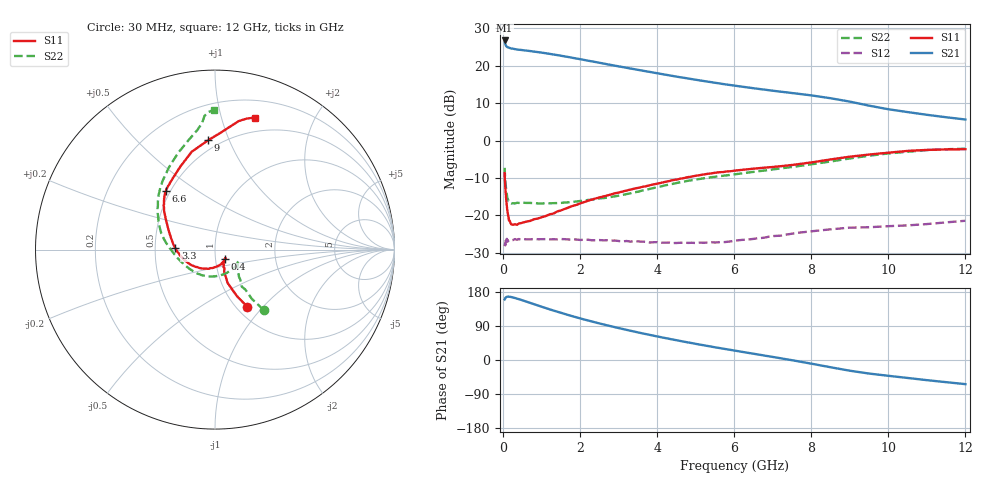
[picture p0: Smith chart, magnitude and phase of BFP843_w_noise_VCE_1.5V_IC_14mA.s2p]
! Infineon Technologies  Discrete & RF Semiconductors
! BFP843
! VCE =  1.5 V,  IC =  14 mA
! Common Emitter S-Parameters:  Aug 2013
# GHz  S  MA  R  50
!  f  S11  S21  S12  S22
! GHz  MAG  ANG  MAG  ANG  MAG  ANG  MAG  ANG
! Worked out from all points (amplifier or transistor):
!   103 points, 30 MHz to 12 GHz, reference 50 ohm
!   highest |S21| = 26.8 dB at 30 MHz (marker M1)
!   |S21| within 3 dB of that: start of sweep to 810.2 MHz
!   unconditionally stable (mu >= 1): 117.6 MHz to 10.92 GHz
!   at 400 MHz: K = 1.02, MAG = 24.5 dB, |S12| = -26.3 dB
!   at 3.7 GHz: K = 1.36, MAG = 19.2 dB, |S12| = -27.1 dB
!   at 12 GHz: K = 0.86, MSG = 13.5 dB, |S12| = -21.4 dB
!   lowest NFmin = 0.95 dB at 450 MHz
!   S11 on the Smith chart (normalised r, x): 30 MHz: 1.12, -0.83; 400 MHz: 1.11, -0.12; 3.3 GHz: 0.64, +0.01; 6.6 GHz: 0.47, +0.38; 9 GHz: 0.43, +0.84; 12 GHz: 0.36, +1.29
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0.03  0.3673 -60.5  21.82 159.7  0.0388 26.6  0.4328 -51.1
0.04  0.2837 -64.9  20.22 161.3  0.0418 21.7  0.3434 -53.2
0.05  0.2293 -67.3  19.34 163.9  0.0401 12.3  0.2792 -52.8
0.07  0.1649 -68.4  18.32 165.7  0.044 12.5  0.218 -49.8
0.1  0.1161 -62.9  17.76 167.0  0.0448 11.7  0.1731 -43.1
0.13  0.0969 -59.3  17.59 167.4  0.046 6.0  0.1552 -36.5
0.2  0.076 -46.3  17.04 166.2  0.0464 3.9  0.1448 -27.9
0.4  0.0781 -43.5  16.39 160.5  0.0484 3.6  0.1468 -27.1
0.8  0.0891 -69.6  15.47 147.1  0.0485 0.6  0.1457 -46.3
1.2  0.1033 -97.4  14.44 133.7  0.0478 -1.3  0.1452 -68.8
1.7  0.1282 -125.3  13.06 118.2  0.0476 -3.3  0.1497 -94.8
2.1  0.1509 -143.3  11.97 106.8  0.0473 -3.8  0.158 -113.3
2.7  0.1848 -164.3  10.47 91.3  0.0466 -5.6  0.1729 -137.9
3.3  0.2213 177.9  9.2 77.2  0.0446 -5.2  0.1977 -159.0
4.1  0.2732 159.2  7.778 60.0  0.0432 -4.4  0.245 -179.9
5  0.3393 145.3  6.508 42.5  0.0427 -0.4  0.302 165.6
6.1  0.4013 135.0  5.345 23.2  0.0465 5.3  0.3593 151.5
6.6  0.4256 129.9  4.935 14.7  0.0495 5.9  0.3878 145.5
8.5  0.5604 103.4  3.683 -19.2  0.0652 1.5  0.5261 119.1
9  0.6098 93.7  3.32 -28.3  0.0686 -1.9  0.5777 110.7
10.5  0.7286 79.5  2.406 -47.4  0.0736 -8.2  0.7093 95.8
12  0.7665 72.9  1.915 -63.7  0.0848 -14.8  0.7802 90.3
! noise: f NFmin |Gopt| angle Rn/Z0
0.45  0.95  0.05  -171  0.02
0.9  0.96  0.05  -164  0.05
1.5  0.98  0.05  -156  0.11
1.9  1  0.05  -146  0.18
2.4  1.03  0.05  -137  0.25
3.5  1.08  0.04  -114  0.28
5.5  1.2  0.2  -116  0.35
10  1.79  0.5  -64  0.47
